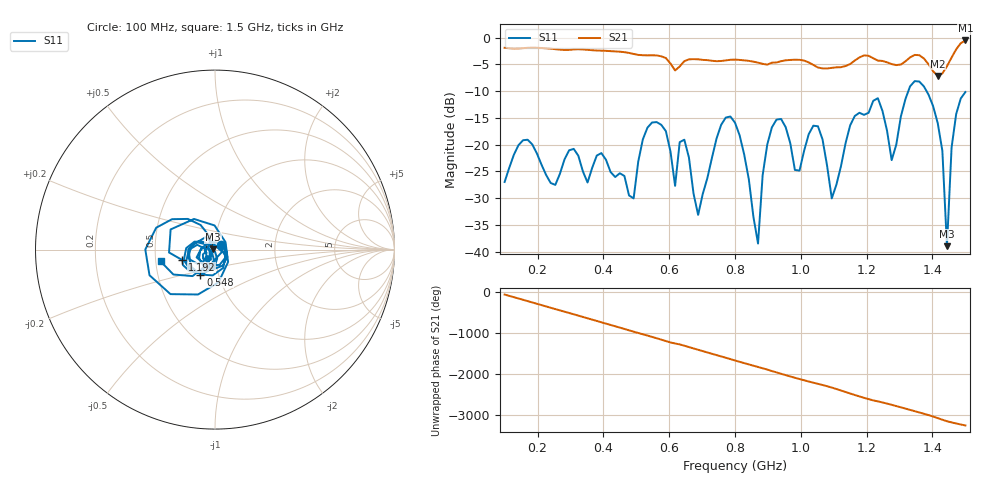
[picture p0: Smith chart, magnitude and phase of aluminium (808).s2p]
! NanoVNA-App
! Date: 2025-09-25 15:01:34
! Start: 100MHz Stop: 1,5GHz Points: 101
! S-Parameter data: F S11 S21 S12 S22
# Hz S RI R 50
!  Frequency  S11_Real  S11_Imag  S21_Real  S21_Imag  S12_Real  S12_Imag  S22_Real  S22_Imag
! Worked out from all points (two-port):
!   101 points, 100 MHz to 1.5 GHz, reference 50 ohm
!   highest |S21| = -0.55 dB at 1.5 GHz (marker M1); lowest = -7.2 dB at 1.416 GHz (marker M2)
!   |S21| within 3 dB of the highest: start of sweep to 577.7 MHz; 1.46 GHz to end of sweep (the widest 2 of 4)
!   lowest |S11| = -38.9 dB at 1.444 GHz (marker M3), VSWR 1.02, Z = 48.9 + j0.21 ohm
!   |S11| at or under -10 dB: start of sweep to 1.327 GHz; 1.382 GHz to end of sweep
!   S12 and S22 are empty: the file has one direction only
!   S11 on the Smith chart (normalised r, x): 100 MHz: 1.07, +0.06; 548 MHz: 0.82, -0.23; 1.192 GHz: 0.69, -0.08; 1.5 GHz: 0.53, -0.08
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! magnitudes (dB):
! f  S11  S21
! 100 MHz  -27.0  -1.9
! 338 MHz  -25.0  -2.2
! 492 MHz  -30.0  -3.1
! 548 MHz  -15.9  -3.3
! 576 MHz  -16.3  -3.5
! 618 MHz  -27.7  -6.1
! 646 MHz  -19.1  -4.4
! 688 MHz  -33.1  -4.1
! 800 MHz  -15.9  -4.1
! 870 MHz  -38.4  -4.7
! 912 MHz  -16.8  -4.7
! 996 MHz  -24.8  -4.2
! 1.038 GHz  -16.5  -5.1
! 1.094 GHz  -30.0  -5.7
! 1.192 GHz  -14.4  -3.3
! 1.234 GHz  -11.3  -4.3
! 1.276 GHz  -22.9  -5.0
! 1.346 GHz  -8.1  -3.2
! 1.416 GHz  -16.0  -7.2
! 1.444 GHz  -38.9  -5.4
! 1.458 GHz  -20.6  -3.7
! 1.5 GHz  -10.2  -0.5
